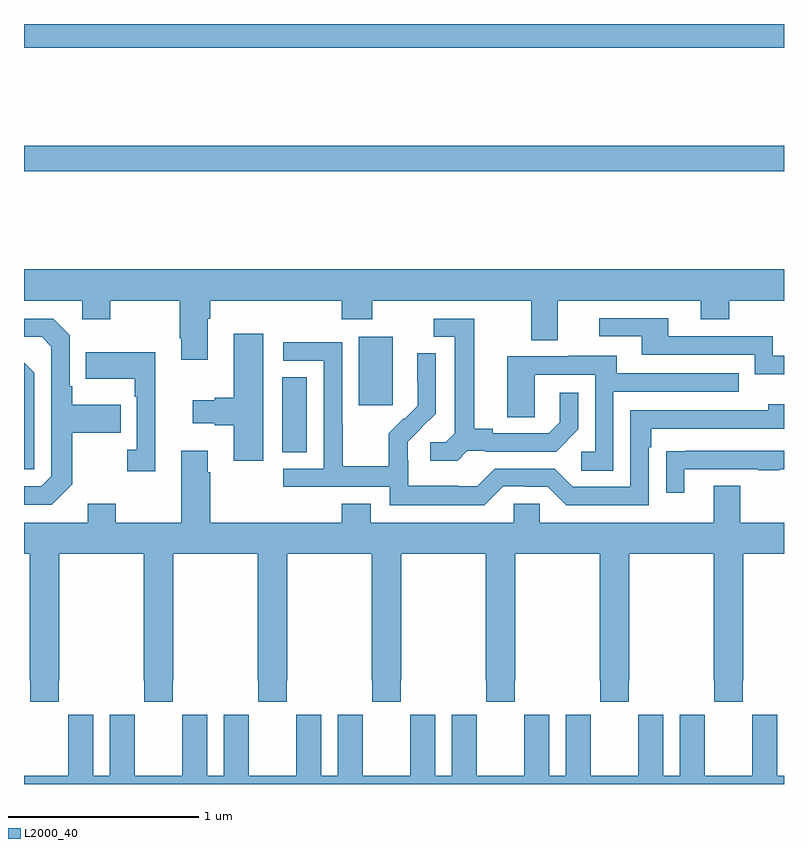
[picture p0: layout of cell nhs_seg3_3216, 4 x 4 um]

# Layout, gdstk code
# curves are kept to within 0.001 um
import gdstk
lib = gdstk.Library(unit=1e-6, precision=1e-09)
def R(c, l, rs):  # rectangles x0, y0, x1, y1
    for r in rs: c.add(gdstk.rectangle(r[:2], r[2:], *l))
def P(c, l, *ps):  # polygons
    for p in ps: c.add(gdstk.Polygon(p, *l))
L2000_40 = (2000, 40)

nhs_seg3_3216 = lib.new_cell('nhs_seg3_3216')
R(nhs_seg3_3216, L2000_40, [(280.358,672.145,280.489,672.542), (280.763,672.393,280.942,672.754), (279,673.624,283,673.76), (279,674.276,283,674.4)])
P(nhs_seg3_3216, L2000_40, [(279.967,672.848),(279.98,672.848),(279.98,672.944),(280.673,672.944),(280.673,672.845),(280.833,672.845),(280.833,672.944),(281.669,672.944),(281.669,672.736),(281.809,672.736),(281.809,672.944),(282.563,672.944),(282.563,672.845),(282.711,672.845),(282.711,672.944),(283,672.944),(283,673.108),(279,673.108),(279,672.944),(279.306,672.944),(279.306,672.845),(279.453,672.845),(279.453,672.944),(279.82,672.944),(279.82,672.745),(279.827,672.745),(279.827,672.633),(279.967,672.633)],
  [(283,672.654),(282.942,672.654),(282.942,672.756),(282.391,672.756),(282.391,672.852),(282.027,672.852),(282.027,672.756),(282.251,672.756),(282.251,672.66),(282.846,672.66),(282.846,672.557),(283,672.557)],
  [(281.334,672.153),(281.428,672.153),(281.428,672.15),(281.8,672.15),(281.916,672.266),(281.916,672.46),(281.819,672.46),(281.819,672.303),(281.762,672.246),(281.467,672.246),(281.467,672.269),(281.371,672.269),(281.371,672.849),(281.157,672.849),(281.157,672.753),(281.267,672.753),(281.267,672.245),(281.22,672.198),(281.139,672.198),(281.139,672.101),(281.282,672.101)],
  [(279.253,671.977),(279.253,672.25),(279.509,672.25),(279.509,672.397),(279.253,672.397),(279.253,672.493),(279.24,672.493),(279.24,672.762),(279.153,672.849),(279,672.849),(279,672.753),(279.093,672.753),(279.144,672.702),(279.144,672.021),(279.09,671.967),(279,671.967),(279,671.871),(279.147,671.871)],
  [(280.258,672.769),(280.103,672.769),(280.103,672.434),(280.004,672.434),(280.004,672.421),(279.888,672.421),(279.888,672.299),(280.004,672.299),(280.004,672.287),(280.103,672.287),(280.103,672.102),(280.258,672.102)],
  [(281.523,671.967),(281.639,671.967),(281.639,671.964),(281.757,671.964),(281.853,671.868),(282.288,671.868),(282.288,672.173),(282.301,672.173),(282.301,672.27),(283,672.27),(283,672.4),(282.917,672.4),(282.917,672.366),(282.192,672.366),(282.192,671.964),(281.889,671.964),(281.793,672.06),(281.478,672.06),(281.385,671.967),(281.285,671.967),(281.285,671.971),(281.022,671.971),(281.022,672.105),(281.02,672.105),(281.02,672.202),(281.166,672.35),(281.166,672.668),(281.07,672.668),(281.07,672.514),(281.072,672.514),(281.072,672.392),(281.001,672.321),(280.998,672.324),(280.921,672.247),(280.921,672.073),(280.677,672.073),(280.677,672.296),(280.674,672.296),(280.674,672.726),(280.365,672.726),(280.365,672.627),(280.578,672.627),(280.578,672.06),(280.365,672.06),(280.365,671.964),(280.926,671.964),(280.926,671.867),(281.423,671.867)],
  [(279.692,672.673),(279.325,672.673),(279.325,672.533),(279.582,672.533),(279.582,672.437),(279.594,672.437),(279.594,672.158),(279.543,672.158),(279.543,672.045),(279.692,672.045)],
  [(282.102,672.465),(282.761,672.465),(282.761,672.561),(282.121,672.561),(282.121,672.655),(281.867,672.655),(281.867,672.651),(281.543,672.651),(281.543,672.331),(281.688,672.331),(281.688,672.555),(282.006,672.555),(282.006,672.15),(281.934,672.15),(281.934,672.049),(282.102,672.049)],
  [(279.054,672.564),(279,672.618),(279,672.057),(279.054,672.057)],
  [(280.825,671.875),(280.673,671.875),(280.673,671.776),(279.98,671.776),(279.98,672.041),(279.967,672.041),(279.967,672.154),(279.827,672.154),(279.827,671.776),(279.483,671.776),(279.483,671.875),(279.335,671.875),(279.335,671.776),(279,671.776),(279,671.612),(279.031,671.612),(279.031,670.945),(279.033,670.945),(279.033,670.833),(279.183,670.833),(279.183,670.945),(279.186,670.945),(279.186,671.612),(279.631,671.612),(279.631,670.945),(279.633,670.945),(279.633,670.833),(279.783,670.833),(279.783,670.945),(279.786,670.945),(279.786,671.612),(280.231,671.612),(280.231,670.945),(280.233,670.945),(280.233,670.833),(280.383,670.833),(280.383,670.945),(280.386,670.945),(280.386,671.612),(280.831,671.612),(280.831,670.945),(280.833,670.945),(280.833,670.833),(280.983,670.833),(280.983,670.945),(280.986,670.945),(280.986,671.612),(281.431,671.612),(281.431,670.945),(281.433,670.945),(281.433,670.833),(281.583,670.833),(281.583,670.945),(281.586,670.945),(281.586,671.612),(282.031,671.612),(282.031,670.945),(282.033,670.945),(282.033,670.833),(282.183,670.833),(282.183,670.945),(282.186,670.945),(282.186,671.612),(282.631,671.612),(282.631,670.945),(282.633,670.945),(282.633,670.833),(282.783,670.833),(282.783,670.945),(282.786,670.945),(282.786,671.612),(283,671.612),(283,671.776),(282.769,671.776),(282.769,671.971),(282.629,671.971),(282.629,671.776),(281.715,671.776),(281.715,671.874),(281.577,671.874),(281.577,671.776),(280.825,671.776)],
  [(282.475,672.057),(282.865,672.057),(282.865,672.052),(282.977,672.052),(282.977,672.057),(283,672.057),(283,672.153),(282.481,672.153),(282.481,672.152),(282.379,672.152),(282.379,671.934),(282.475,671.934)],
  [(283,670.444),(282.964,670.444),(282.964,670.765),(282.834,670.765),(282.834,670.652),(282.833,670.652),(282.833,670.444),(282.583,670.444),(282.583,670.652),(282.582,670.652),(282.582,670.765),(282.452,670.765),(282.452,670.444),(282.364,670.444),(282.364,670.765),(282.234,670.765),(282.234,670.652),(282.233,670.652),(282.233,670.444),(281.983,670.444),(281.983,670.652),(281.982,670.652),(281.982,670.765),(281.852,670.765),(281.852,670.444),(281.764,670.444),(281.764,670.765),(281.634,670.765),(281.634,670.652),(281.633,670.652),(281.633,670.444),(281.383,670.444),(281.383,670.652),(281.382,670.652),(281.382,670.765),(281.252,670.765),(281.252,670.444),(281.164,670.444),(281.164,670.765),(281.034,670.765),(281.034,670.652),(281.033,670.652),(281.033,670.444),(280.783,670.444),(280.783,670.652),(280.782,670.652),(280.782,670.765),(280.652,670.765),(280.652,670.444),(280.564,670.444),(280.564,670.765),(280.434,670.765),(280.434,670.652),(280.433,670.652),(280.433,670.444),(280.183,670.444),(280.183,670.652),(280.182,670.652),(280.182,670.765),(280.052,670.765),(280.052,670.444),(279.964,670.444),(279.964,670.765),(279.834,670.765),(279.834,670.652),(279.833,670.652),(279.833,670.444),(279.583,670.444),(279.583,670.652),(279.582,670.652),(279.582,670.765),(279.452,670.765),(279.452,670.444),(279.364,670.444),(279.364,670.765),(279.234,670.765),(279.234,670.652),(279.233,670.652),(279.233,670.444),(279,670.444),(279,670.4),(283,670.4)])

lib.write_gds('nhs_seg3_3216.gds')
